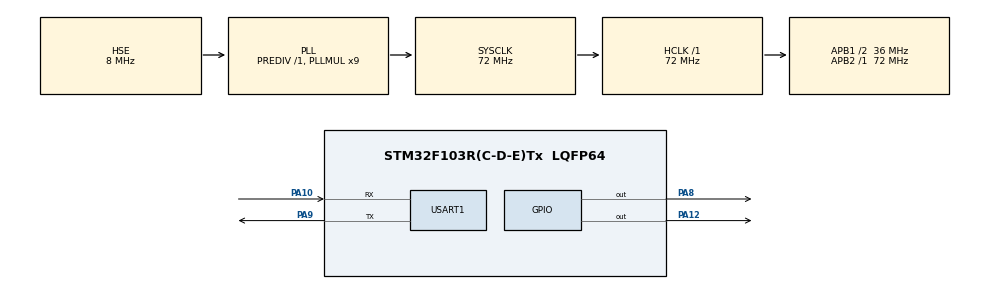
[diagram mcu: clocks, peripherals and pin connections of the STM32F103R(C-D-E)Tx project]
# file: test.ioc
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Mcu.Family=STM32F1
Mcu.Name=STM32F103R(C-D-E)Tx
Mcu.Package=LQFP64
NVIC.PriorityGroup=NVIC_PRIORITYGROUP_4
NVIC.TIM1_UP_IRQn=true\:0\:0\:false\:true\:true\:1\:true
NVIC.USART1_IRQn=true\:0\:0\:false\:true\:true\:2\:true
PA10.Mode=Asynchronous
PA10.Signal=USART1_RX
PA12.PinState=GPIO_PIN_SET
PA12.Signal=GPIO_Output
PA13.Mode=Serial_Wire
PA13.Signal=SYS_JTMS-SWDIO
PA14.Mode=Serial_Wire
PA14.Signal=SYS_JTCK-SWCLK
PA8.PinState=GPIO_PIN_SET
PA8.Signal=GPIO_Output
PA9.Mode=Asynchronous
PA9.Signal=USART1_TX
PD0-OSC_IN.Mode=HSE-External-Oscillator
PD0-OSC_IN.Signal=RCC_OSC_IN
PD1-OSC_OUT.Mode=HSE-External-Oscillator
PD1-OSC_OUT.Signal=RCC_OSC_OUT
ProjectManager.HeapSize=0x200
ProjectManager.StackSize=0x400
ProjectManager.TargetToolchain=MDK-ARM V5
RCC.AHBFreq_Value=72000000
RCC.APB1CLKDivider=RCC_HCLK_DIV2
RCC.APB1Freq_Value=36000000
RCC.APB1TimFreq_Value=72000000
RCC.APB2Freq_Value=72000000
RCC.APB2TimFreq_Value=72000000
RCC.HCLKFreq_Value=72000000
RCC.PLLMUL=RCC_PLL_MUL9
RCC.PLLSourceVirtual=RCC_PLLSOURCE_HSE
RCC.SYSCLKFreq_VALUE=72000000
RCC.SYSCLKSource=RCC_SYSCLKSOURCE_PLLCLK
RCC.USBFreq_Value=72000000
TIM1.CounterMode=TIM_COUNTERMODE_DOWN
TIM1.Period=720-1
TIM1.Prescaler=0
USART1.VirtualMode=VM_ASYNC
VP_TIM1_VS_ClockSourceINT.Mode=Internal
board=test

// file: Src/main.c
/**
  ******************************************************************************
  * @file           : main.c
  * @brief          : Main program body
  ******************************************************************************
  ** This notice applies to any and all portions of this file
  * that are not between comment pairs USER CODE BEGIN and
  * USER CODE END. Other portions of this file, whether
  * inserted by the user or by software development tools
  * are owned by their respective copyright owners.
  *
  * COPYRIGHT(c) 2018 STMicroelectronics
  *
  * Redistribution and use in source and binary forms, with or without modification,
  * are permitted provided that the following conditions are met:
  *   1. Redistributions of source code must retain the above copyright notice,
  *      this list of conditions and the following disclaimer.
  *   2. Redistributions in binary form must reproduce the above copyright notice,
  *      this list of conditions and the following disclaimer in the documentation
  *      and/or other materials provided with the distribution.
  *   3. Neither the name of STMicroelectronics nor the names of its contributors
  *      may be used to endorse or promote products derived from this software
  *      without specific prior written permission.
  *
  * THIS SOFTWARE IS PROVIDED BY THE COPYRIGHT HOLDERS AND CONTRIBUTORS "AS IS"
  * AND ANY EXPRESS OR IMPLIED WARRANTIES, INCLUDING, BUT NOT LIMITED TO, THE
  * IMPLIED WARRANTIES OF MERCHANTABILITY AND FITNESS FOR A PARTICULAR PURPOSE ARE
  * DISCLAIMED. IN NO EVENT SHALL THE COPYRIGHT HOLDER OR CONTRIBUTORS BE LIABLE
  * FOR ANY DIRECT, INDIRECT, INCIDENTAL, SPECIAL, EXEMPLARY, OR CONSEQUENTIAL
  * DAMAGES (INCLUDING, BUT NOT LIMITED TO, PROCUREMENT OF SUBSTITUTE GOODS OR
  * SERVICES; LOSS OF USE, DATA, OR PROFITS; OR BUSINESS INTERRUPTION) HOWEVER
  * CAUSED AND ON ANY THEORY OF LIABILITY, WHETHER IN CONTRACT, STRICT LIABILITY,
  * OR TORT (INCLUDING NEGLIGENCE OR OTHERWISE) ARISING IN ANY WAY OUT OF THE USE
  * OF THIS SOFTWARE, EVEN IF ADVISED OF THE POSSIBILITY OF SUCH DAMAGE.
  *
  ******************************************************************************
  */
#include "main.h"
#include "stm32f1xx_hal.h"
#include "string.h"
#include "stdlib.h"

TIM_HandleTypeDef htim1;

UART_HandleTypeDef huart1;

/* USER CODE BEGIN PV */
/* Private variables ---------------------------------------------------------*/
uint8_t aTxBuffer1[] = "+++\r\n";
uint8_t aTxBuffer2[] = "AT+SAVETRANSLINK=1,\"47.106.143.61\",8080,\"TCP\"\r\n";
uint8_t aTxBuffer3[] = "AT+CIPSTART=\"TCP\",\"47.106.143.61\",8080\r\n";
uint8_t aTxBuffer4[] = "AT+CIPMODE=1\r\n";
uint8_t aTxBuffer5[] = "AT+CIPSEND\r\n";
uint8_t aTxBuffer6[] = "POST / HTTP/1.1\r\n"
"Host: 45.40.240.159:6969\r\n"
"Connection: keep-alive\r\n"
"Pragma: no-cache\r\n"
"Cache-Control: no-cache\r\n"
"Upgrade-Insecure-Requests: 1\r\n"
"User-Agent: Mozilla/5.0 (Windows NT 6.1; WOW64) AppleWebKit/537.36 (KHTML, like Gecko) Chrome/63.0.3239.132 Safari/537.36\r\n"
"Accept: text/html,application/xhtml+xml,application/xml;q=0.9,image/webp,image/apng,*/*;q=0.8\r\n"
"Accept-Encoding: gzip, deflate\r\n"
"Accept-Language: zh-CN,zh;q=0.9\r\n"
"Content-Type: application/x-www-form-urlencoded\r\n"
"Content-Length: 30\r\n"
"\r\n"
"tempureture=1&humidity=2";

char * stringTemplate1 = "POST /airSensor/servlet/regServlet HTTP/1.1\r\n"
//"Host: 45.40.240.159:6969\r\n"
"Host: 47.106.143.61:8080\r\n"
"Connection: keep-alive\r\n"
"Pragma: no-cache\r\n"
"Cache-Control: no-cache\r\n"
"Upgrade-Insecure-Requests: 1\r\n"
"User-Agent: Mozilla/5.0 (Windows NT 6.1; WOW64) AppleWebKit/537.36 (KHTML, like Gecko) Chrome/63.0.3239.132 Safari/537.36\r\n"
"Accept: text/html,application/xhtml+xml,application/xml;q=0.9,image/webp,image/apng,*/*;q=0.8\r\n"
"Accept-Encoding: gzip, deflate\r\n"
"Accept-Language: zh-CN,zh;q=0.9\r\n"
"Content-Type: application/x-www-form-urlencoded\r\n"
"Content-Length: ";

char *stringTemplate2 = "\r\n"
"\r\n"
"tmp=";

char *stringTemplate3 = "&hum=";

char *stringTemplate4 = "&sensor_id=";

char stringTemplateX[1000] ;

char stringTemplateParams[100];

#define TXBUFFERSIZE                      sizeof(aTxBuffer)-1

#define RXBUFFERSIZE                       99
uint8_t aRxBuffer[RXBUFFERSIZE];
uint32_t TimingDelay;
uint32_t Timer1Delay;      //定时器1延时变量
typedef enum{
	GPIOA12_INPUT = 0,
	GPIOA12_OUTPUT = 1
}GPIOA12_MODE;
ITStatus UartReady = RESET; //串口发送标志位
/* USER CODE END PV */

void SystemClock_Config(void);
static void MX_GPIO_Init(void);
static void MX_TIM1_Init(void);
static void MX_USART1_UART_Init(void);
static void MX_NVIC_Init(void);

/* USER CODE BEGIN PFP */
/* Private function prototypes -----------------------------------------------*/
void systickDelay(uint32_t ms);
void timer1Delay(uint32_t us);
void changePA12mode(GPIOA12_MODE mode);
/* USER CODE END PFP */

int main(void)
{

  /* MCU Configuration----------------------------------------------------------*/

  /* Reset of all peripherals, Initializes the Flash interface and the Systick. */
  HAL_Init();

  /* Configure the system clock */
  SystemClock_Config();

  /* Initialize all configured peripherals */
  MX_GPIO_Init();
  MX_TIM1_Init();
  MX_USART1_UART_Init();

  /* Initialize interrupts */
  MX_NVIC_Init();

  /* Infinite loop */
  while (1)
  {

  /* USER CODE BEGIN 3 */
	  unsigned char data[] = {0,0,0,0,0,0,0,0,0,0};
		unsigned char data1[] = {0,0,0,0,0,0,0,0,0,0};
		/*HAL_UART_Receive_IT(&huart1 , (uint8_t*)aRxBuffer , RXBUFFERSIZE);
		while(UartReady != SET);
		UartReady = RESET;*/

		//初始化DHT11引脚 PA12为输出
		changePA12mode(GPIOA12_OUTPUT);
		__nop();
		timer1Delay(5);
		__nop();

		HAL_GPIO_WritePin(GPIOA,GPIO_PIN_8,GPIO_PIN_RESET);
		systickDelay(1000);

		HAL_GPIO_WritePin(GPIOA,GPIO_PIN_8,GPIO_PIN_SET);
		systickDelay(1000);

		HAL_GPIO_WritePin(GPIOA,GPIO_PIN_12,GPIO_PIN_RESET);
		systickDelay(18);
		HAL_GPIO_WritePin(GPIOA,GPIO_PIN_12,GPIO_PIN_SET);
		changePA12mode(GPIOA12_INPUT);

		//检测DHT11开始信号
		while(HAL_GPIO_ReadPin(GPIOA,GPIO_PIN_12) == GPIO_PIN_SET);

		while(HAL_GPIO_ReadPin(GPIOA,GPIO_PIN_12) == GPIO_PIN_RESET);

		while(HAL_GPIO_ReadPin(GPIOA,GPIO_PIN_12) == GPIO_PIN_SET);

		//数据传输开始
		while(HAL_GPIO_ReadPin(GPIOA,GPIO_PIN_12) == GPIO_PIN_RESET);
		//__nop();

		for(int i=0;i<5;i++){
			for(int j=0;j<8;j++){
				timer1Delay(5);
				if(HAL_GPIO_ReadPin(GPIOA,GPIO_PIN_12) == GPIO_PIN_RESET){
				//代表数字0
					data[i] = data[i] << 1;
					data[i] = data[i] || 0;
					data1[i] <<= 1;
					data1[i] |= 0;
					while(HAL_GPIO_ReadPin(GPIOA,GPIO_PIN_12) == GPIO_PIN_RESET);
				}
				else{
				//代表数字1
					data[i] = data[i] << 1;
					data[i] = data[i] || 1;
					data1[i] <<= 1;
					data1[i] |= 1;
					while(HAL_GPIO_ReadPin(GPIOA,GPIO_PIN_12) == GPIO_PIN_SET);
					while(HAL_GPIO_ReadPin(GPIOA,GPIO_PIN_12) == GPIO_PIN_RESET);
				}
			}
		}
		__nop();
		// DHT11接受结束， 接受数据存放在data1中
		sprintf(stringTemplateParams,"%s%d%s%d%s%d",stringTemplate2,data1[2],stringTemplate3,data1[0],stringTemplate4,1);
		int size1 = strlen(stringTemplateParams)-4;
		sprintf(stringTemplateX,"%s%d%s",stringTemplate1,size1,stringTemplateParams);
		int size2 = strlen(stringTemplateX);

		//uint8_t *aTxBuffer = (uint8_t*)malloc(500);
		//strcpy(aTxBuffer,stringTemplateX);

		//开始ESP8266发送
		HAL_UART_Transmit_IT(&huart1, (uint8_t*)stringTemplateX, size2); //指针强制转换
		while(UartReady != SET);
		UartReady = RESET;
		//HAL_UART_Transmit_IT(&huart1, (uint8_t*)aTxBuffer2, sizeof(aTxBuffer2)-1); //指针强制转换
		//while(UartReady != SET);
		//UartReady = RESET;
		//HAL_UART_Receive_IT(&huart1 , (uint8_t*)aRxBuffer , RXBUFFERSIZE);
		//while(UartReady != SET);
		//UartReady = RESET;
		__nop();

		systickDelay(28000);

  }
  /* USER CODE END 3 */

}

void SystemClock_Config(void)
{

  RCC_OscInitTypeDef RCC_OscInitStruct;
  RCC_ClkInitTypeDef RCC_ClkInitStruct;

    /**Initializes the CPU, AHB and APB busses clocks
    */
  RCC_OscInitStruct.OscillatorType = RCC_OSCILLATORTYPE_HSE;
  RCC_OscInitStruct.HSEState = RCC_HSE_ON;
  RCC_OscInitStruct.HSEPredivValue = RCC_HSE_PREDIV_DIV1;
  RCC_OscInitStruct.HSIState = RCC_HSI_ON;
  RCC_OscInitStruct.PLL.PLLState = RCC_PLL_ON;
  RCC_OscInitStruct.PLL.PLLSource = RCC_PLLSOURCE_HSE;
  RCC_OscInitStruct.PLL.PLLMUL = RCC_PLL_MUL9;
  if (HAL_RCC_OscConfig(&RCC_OscInitStruct) != HAL_OK)
  {
    _Error_Handler(__FILE__, __LINE__);
  }

    /**Initializes the CPU, AHB and APB busses clocks
    */
  RCC_ClkInitStruct.ClockType = RCC_CLOCKTYPE_HCLK|RCC_CLOCKTYPE_SYSCLK
                              |RCC_CLOCKTYPE_PCLK1|RCC_CLOCKTYPE_PCLK2;
  RCC_ClkInitStruct.SYSCLKSource = RCC_SYSCLKSOURCE_PLLCLK;
  RCC_ClkInitStruct.AHBCLKDivider = RCC_SYSCLK_DIV1;
  RCC_ClkInitStruct.APB1CLKDivider = RCC_HCLK_DIV2;
  RCC_ClkInitStruct.APB2CLKDivider = RCC_HCLK_DIV1;

  if (HAL_RCC_ClockConfig(&RCC_ClkInitStruct, FLASH_LATENCY_2) != HAL_OK)
  {
    _Error_Handler(__FILE__, __LINE__);
  }

    /**Configure the Systick interrupt time
    */
  HAL_SYSTICK_Config(HAL_RCC_GetHCLKFreq()/1000);

    /**Configure the Systick
    */
  HAL_SYSTICK_CLKSourceConfig(SYSTICK_CLKSOURCE_HCLK);

  /* SysTick_IRQn interrupt configuration */
  HAL_NVIC_SetPriority(SysTick_IRQn, 0, 0);
}

/**
  * @brief NVIC Configuration.
  * @retval None
  */
static void MX_NVIC_Init(void)
{
  /* TIM1_UP_IRQn interrupt configuration */
  HAL_NVIC_SetPriority(TIM1_UP_IRQn, 0, 0);
  HAL_NVIC_EnableIRQ(TIM1_UP_IRQn);
  /* USART1_IRQn interrupt configuration */
  HAL_NVIC_SetPriority(USART1_IRQn, 0, 0);
  HAL_NVIC_EnableIRQ(USART1_IRQn);
}

/* TIM1 init function */
static void MX_TIM1_Init(void)
{

  TIM_ClockConfigTypeDef sClockSourceConfig;
  TIM_MasterConfigTypeDef sMasterConfig;

  htim1.Instance = TIM1;
  htim1.Init.Prescaler = 0;
  htim1.Init.CounterMode = TIM_COUNTERMODE_DOWN;
  htim1.Init.Period = 720-1;
  htim1.Init.ClockDivision = TIM_CLOCKDIVISION_DIV1;
  htim1.Init.RepetitionCounter = 0;
  htim1.Init.AutoReloadPreload = TIM_AUTORELOAD_PRELOAD_DISABLE;
  if (HAL_TIM_Base_Init(&htim1) != HAL_OK)
  {
    _Error_Handler(__FILE__, __LINE__);
  }

  sClockSourceConfig.ClockSource = TIM_CLOCKSOURCE_INTERNAL;
  if (HAL_TIM_ConfigClockSource(&htim1, &sClockSourceConfig) != HAL_OK)
  {
    _Error_Handler(__FILE__, __LINE__);
  }

  sMasterConfig.MasterOutputTrigger = TIM_TRGO_RESET;
  sMasterConfig.MasterSlaveMode = TIM_MASTERSLAVEMODE_DISABLE;
  if (HAL_TIMEx_MasterConfigSynchronization(&htim1, &sMasterConfig) != HAL_OK)
  {
    _Error_Handler(__FILE__, __LINE__);
  }

}

/* USART1 init function */
static void MX_USART1_UART_Init(void)
{

  huart1.Instance = USART1;
  huart1.Init.BaudRate = 115200;
  huart1.Init.WordLength = UART_WORDLENGTH_8B;
  huart1.Init.StopBits = UART_STOPBITS_1;
  huart1.Init.Parity = UART_PARITY_NONE;
  huart1.Init.Mode = UART_MODE_TX_RX;
  huart1.Init.HwFlowCtl = UART_HWCONTROL_NONE;
  huart1.Init.OverSampling = UART_OVERSAMPLING_16;
  if (HAL_UART_Init(&huart1) != HAL_OK)
  {
    _Error_Handler(__FILE__, __LINE__);
  }

}

/** Configure pins as
        * Analog
        * Input
        * Output
        * EVENT_OUT
        * EXTI
*/
static void MX_GPIO_Init(void)
{

  GPIO_InitTypeDef GPIO_InitStruct;

  /* GPIO Ports Clock Enable */
  __HAL_RCC_GPIOD_CLK_ENABLE();
  __HAL_RCC_GPIOA_CLK_ENABLE();

  /*Configure GPIO pin Output Level */
  HAL_GPIO_WritePin(GPIOA, GPIO_PIN_8|GPIO_PIN_12, GPIO_PIN_SET);

  /*Configure GPIO pins : PA8 PA12 */
  GPIO_InitStruct.Pin = GPIO_PIN_8|GPIO_PIN_12;
  GPIO_InitStruct.Mode = GPIO_MODE_OUTPUT_PP;
  GPIO_InitStruct.Speed = GPIO_SPEED_FREQ_LOW;
  HAL_GPIO_Init(GPIOA, &GPIO_InitStruct);

}

/* USER CODE BEGIN 4 */
void systickDelay(uint32_t nTime)
{
  TimingDelay = nTime;
  while(TimingDelay != 0);
}
void timer1Delay(uint32_t us)
{
	HAL_TIM_Base_Start_IT(&htim1);
	Timer1Delay = us;
	while(Timer1Delay !=0);
	HAL_TIM_Base_Stop_IT(&htim1);
}
void changePA12mode(GPIOA12_MODE mode){
	 GPIO_InitTypeDef GPIO_InitStruct;

	if(mode == GPIOA12_INPUT){
		/*Configure GPIO pins : PA8 PA12 */
		GPIO_InitStruct.Pin = GPIO_PIN_12;
		GPIO_InitStruct.Mode = GPIO_MODE_INPUT;
		GPIO_InitStruct.Pull = GPIO_PULLUP;
		HAL_GPIO_Init(GPIOA, &GPIO_InitStruct);
	}
	else{
		  /*Configure GPIO pin Output Level */
		HAL_GPIO_WritePin(GPIOA,GPIO_PIN_12, GPIO_PIN_SET);

		/*Configure GPIO pins : PA8 PA12 */
		GPIO_InitStruct.Pin = GPIO_PIN_12;
		GPIO_InitStruct.Mode = GPIO_MODE_OUTPUT_PP;
		GPIO_InitStruct.Speed = GPIO_SPEED_FREQ_LOW;
		HAL_GPIO_Init(GPIOA, &GPIO_InitStruct);
	}
}

//串口发送处理
 void HAL_UART_TxCpltCallback(UART_HandleTypeDef *huart)
{
  UartReady = SET;
}
void HAL_UART_RxCpltCallback(UART_HandleTypeDef *huart)
{
  UartReady = SET;
}

/* USER CODE END 4 */

void _Error_Handler(char *file, int line)
{
  while(1)
  {
  }
}

/************************ (C) COPYRIGHT STMicroelectronics *****END OF FILE****/
